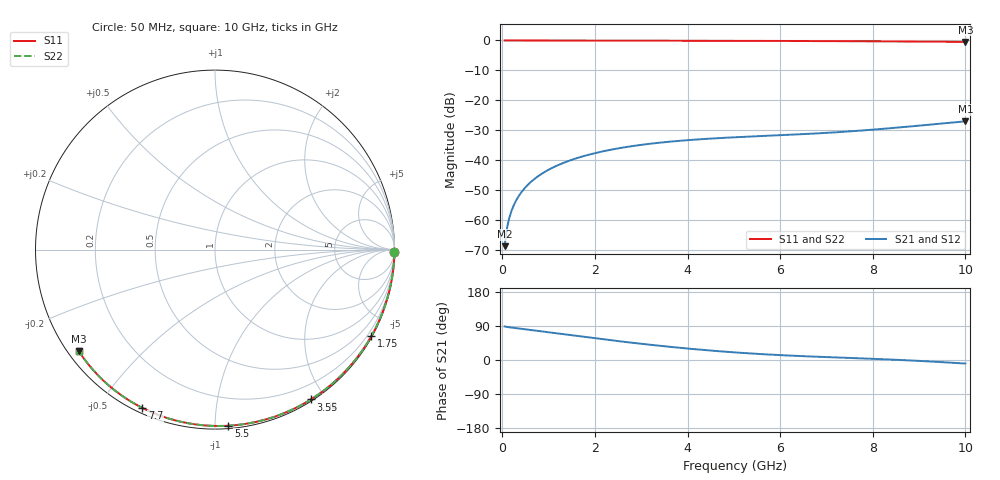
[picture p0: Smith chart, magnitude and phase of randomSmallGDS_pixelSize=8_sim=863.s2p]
! freq	dB(S11)	phase(S11)	dB(S12)	phase(S12)
!  dB(S21)	phase(S21)	dB(S22)	phase(S22)
!S-par simulation data
#  GHz  S  DB  R 50
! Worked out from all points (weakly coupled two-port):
!   200 points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, 50 MHz to 10 GHz, reference 50 ohm
!   highest |S21| = -27.03 dB at 10 GHz (marker M1); lowest = -68.8 dB at 50 MHz (marker M2)
!   lowest |S11| = -0.5 dB at 10 GHz (marker M3), VSWR 36.47, Z = 1.52 - j16.6 ohm
!   |S11| at or under -10 dB: nowhere
!   |S22| runs from -0.5 to 0.0 dB; largest |S21 - S12| = 0
!   S11 on the Smith chart (normalised r, x): 50 MHz: open; 1.75 GHz: 0.03, -3.86; 3.55 GHz: 0.02, -1.83; 5.5 GHz: 0.02, -1.08; 7.7 GHz: 0.02, -0.64; 10 GHz: 0.03, -0.33
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0.05  -0.00 -0.8  -68.78 88.5  -68.78 88.5  -0.00 -0.8
0.1  -0.00 -1.7  -62.84 87.3  -62.84 87.3  -0.00 -1.7
0.15  -0.00 -2.5  -59.39 86.3  -59.39 86.3  -0.00 -2.5
0.2  -0.00 -3.4  -56.94 85.6  -56.94 85.6  -0.00 -3.4
0.25  -0.00 -4.2  -55.04 84.8  -55.04 84.8  -0.00 -4.2
0.35  -0.00 -5.9  -52.16 83.3  -52.16 83.3  -0.00 -5.9
0.5  -0.01 -8.4  -49.11 81.0  -49.11 81.0  -0.01 -8.4
0.7  -0.01 -11.8  -46.24 77.9  -46.24 77.9  -0.01 -11.8
1  -0.02 -16.7  -43.23 73.1  -43.23 73.1  -0.02 -16.8
1.35  -0.03 -22.5  -40.76 67.5  -40.76 67.5  -0.03 -22.5
1.75  -0.04 -29.0  -38.70 61.2  -38.70 61.2  -0.04 -29.1
2.5  -0.05 -41.1  -36.09 49.9  -36.09 49.9  -0.05 -41.1
3.4  -0.07 -55.1  -34.18 37.5  -34.18 37.5  -0.07 -55.1
3.55  -0.08 -57.4  -33.94 35.6  -33.94 35.6  -0.08 -57.4
4.3  -0.10 -68.5  -33.01 27.0  -33.01 27.0  -0.10 -68.6
5.05  -0.12 -79.3  -32.35 19.8  -32.35 19.8  -0.12 -79.4
5.5  -0.14 -85.6  -32.03 16.2  -32.03 16.2  -0.14 -85.6
6.7  -0.20 -101.8  -31.16 9.1  -31.16 9.1  -0.20 -101.8
7.7  -0.26 -114.7  -30.18 4.6  -30.18 4.6  -0.26 -114.7
8.35  -0.31 -122.8  -29.38 1.4  -29.38 1.4  -0.31 -122.9
9.2  -0.39 -133.4  -28.20 -3.6  -28.20 -3.6  -0.39 -133.4
10  -0.48 -143.2  -27.03 -9.4  -27.03 -9.4  -0.48 -143.3
